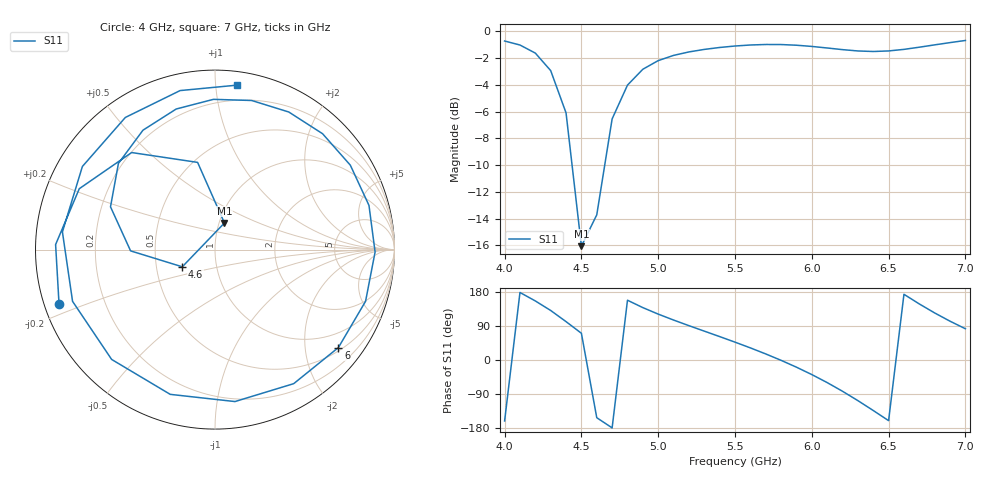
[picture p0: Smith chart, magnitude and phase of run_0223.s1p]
! Touchstone file exported from HFSS 2024.2.0
!  File:  C:/Users/wsak9/Desktop/Sim Fast/Widenad Patch/WP_AI_V1_sweep.aedt
!  Generated:  12:18:09 AM Oct 14, 2026
!  Design:  A1_model
!  Project:  WP_AI_V1_sweep
!  Setup:  Setup1
!  Solution:  Sweep
! Variables:
!  Air_gap = 4.96mm
!  Curve_Amp1 = 1.98
!  Curve_len1 = 1
!  Curve_pos = 12.7mm
!  Extra = 1.45mm
!  H_sub = 0.79mm
!  L_Patch = 21.4mm
!  L_Patch1 = 13.95mm
!  Sx = 1.91mm
!  Sy = 1.63mm
!  WS = 1mm
!  W_Patch = 16.96mm
!  W_Patch1 = 12.5mm
!Data is not renormalized
# GHz S MA
! Terminal data exported
! Port[1] = 1
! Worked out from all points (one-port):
!   31 points, 4 GHz to 7 GHz, reference per port
!   lowest |S11| = -16.1 dB at 4.5 GHz (marker M1), VSWR 1.37
!   |S11| at or under -10 dB: 4.439 GHz to 4.652 GHz (212.8 MHz wide, 4.68 % of centre)
!   S11 on the Smith chart (normalised r, x): 4 GHz: 0.04, -0.17; 4.6 GHz: 0.68, -0.14; 6 GHz: 0.58, -2.76; 7 GHz: 0.09, +1.14
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4  0.9198 -160.9
4.1  0.8885 178.2
4.2  0.8288 155.8
4.3  0.7129 130.7
4.4  0.4955 101.3
4.5  0.1573 70.5
4.6  0.206 -152.3
4.7  0.4704 -179.1
4.8  0.6291 157.7
4.9  0.7213 138.2
5  0.7769 121.1
5.2  0.8372 90.6
5.3  0.8555 76.2
5.5  0.8809 47.1
5.7  0.8925 16.0
5.8  0.8921 -0.9
5.9  0.8869 -19.0
6  0.8778 -38.4
6.1  0.8661 -59.6
6.2  0.8539 -82.5
6.3  0.8442 -107.2
6.4  0.8403 -133.3
6.5  0.8443 -160.0
6.6  0.8558 173.4
6.7  0.872 147.9
6.8  0.8897 124.2
6.9  0.9071 102.4
7  0.9241 82.5
